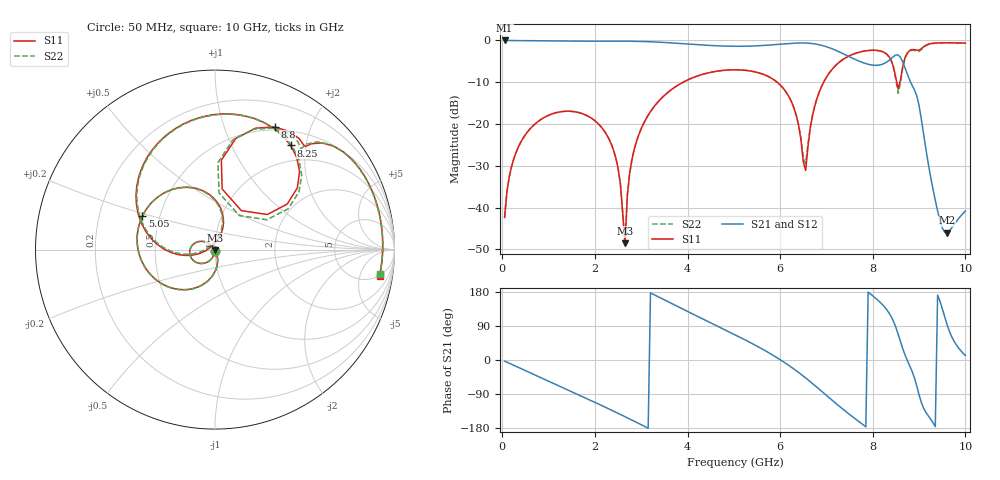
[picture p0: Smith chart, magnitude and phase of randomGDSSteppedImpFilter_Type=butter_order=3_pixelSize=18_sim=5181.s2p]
! freq	dB(S11)	phase(S11)	dB(S12)	phase(S12)
!  dB(S21)	phase(S21)	dB(S22)	phase(S22)
!S-par simulation data
#  GHz  S  DB  R 50
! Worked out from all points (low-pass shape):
!   200 points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, 50 MHz to 10 GHz, reference 50 ohm
!   highest |S21| = -0.01 dB at 50 MHz (marker M1); lowest = -46.0 dB at 9.6 GHz (marker M2)
!   |S21| within 3 dB of the highest: start of sweep to 7.328 GHz
!   lowest |S11| = -48.6 dB at 2.65 GHz (marker M3), VSWR 1.01, Z = 49.9 - j0.35 ohm
!   |S11| at or under -10 dB: start of sweep to 3.903 GHz; 5.934 GHz to 6.94 GHz (1.005 GHz wide, 15.6 % of centre); 8.518 GHz to 8.586 GHz (68.15 MHz wide, 0.797 % of centre)
!   |S22| runs from -49.2 to -0.6 dB; largest |S21 - S12| = 0
!   S11 on the Smith chart (normalised r, x): 50 MHz: 1.00, -0.02; 5.05 GHz: 0.40, +0.19; 8.25 GHz: 0.72, +1.73; 8.8 GHz: 0.46, +1.50; 10 GHz: 5, -10
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0.05  -42.34 -93.4  -0.01 -2.9  -0.01 -2.9  -42.35 -93.4
0.2  -30.16 -102.0  -0.03 -11.3  -0.03 -11.3  -30.16 -102.0
0.55  -21.81 -121.3  -0.07 -30.9  -0.07 -30.9  -21.81 -121.4
1.75  -17.61 171.8  -0.19 -97.6  -0.19 -97.6  -17.61 171.6
2.4  -26.17 135.7  -0.17 -134.8  -0.17 -134.8  -26.18 134.5
2.55  -34.28 129.4  -0.17 -143.7  -0.17 -143.7  -34.31 126.1
2.65  -48.55 -110.2  -0.18 -149.6  -0.18 -149.6  -49.22 -104.6
2.7  -37.08 -69.8  -0.19 -152.6  -0.19 -152.6  -37.10 -64.5
2.85  -26.03 -74.3  -0.21 -161.6  -0.21 -161.6  -26.03 -72.7
3.4  -14.25 -106.5  -0.43 164.8  -0.43 164.8  -14.25 -105.9
4.25  -8.37 -157.5  -1.04 113.2  -1.04 113.2  -8.37 -157.1
5.05  -7.02 155.1  -1.40 65.1  -1.40 65.1  -7.02 155.5
6.15  -12.72 82.0  -0.76 -11.2  -0.76 -11.2  -12.70 83.3
6.55  -31.12 151.0  -0.62 -47.3  -0.62 -47.3  -29.47 147.7
6.7  -17.91 -166.1  -0.76 -62.3  -0.76 -62.3  -17.80 -169.1
7.35  -4.60 136.1  -3.12 -129.3  -3.12 -129.3  -4.60 135.2
8.25  -2.89 54.0  -5.50 140.6  -5.50 140.6  -2.91 52.5
8.35  -3.86 42.7  -4.78 124.4  -4.78 124.4  -3.92 40.7
8.55  -11.63 55.9  -3.50 67.4  -3.50 67.4  -12.65 54.4
8.8  -2.39 64.1  -9.58 -15.9  -9.58 -15.9  -2.50 64.5
9.6  -0.56 10.7  -46.01 94.8  -46.01 94.8  -0.57 11.3
10  -0.64 -9.0  -40.78 11.9  -40.78 11.9  -0.64 -8.6
